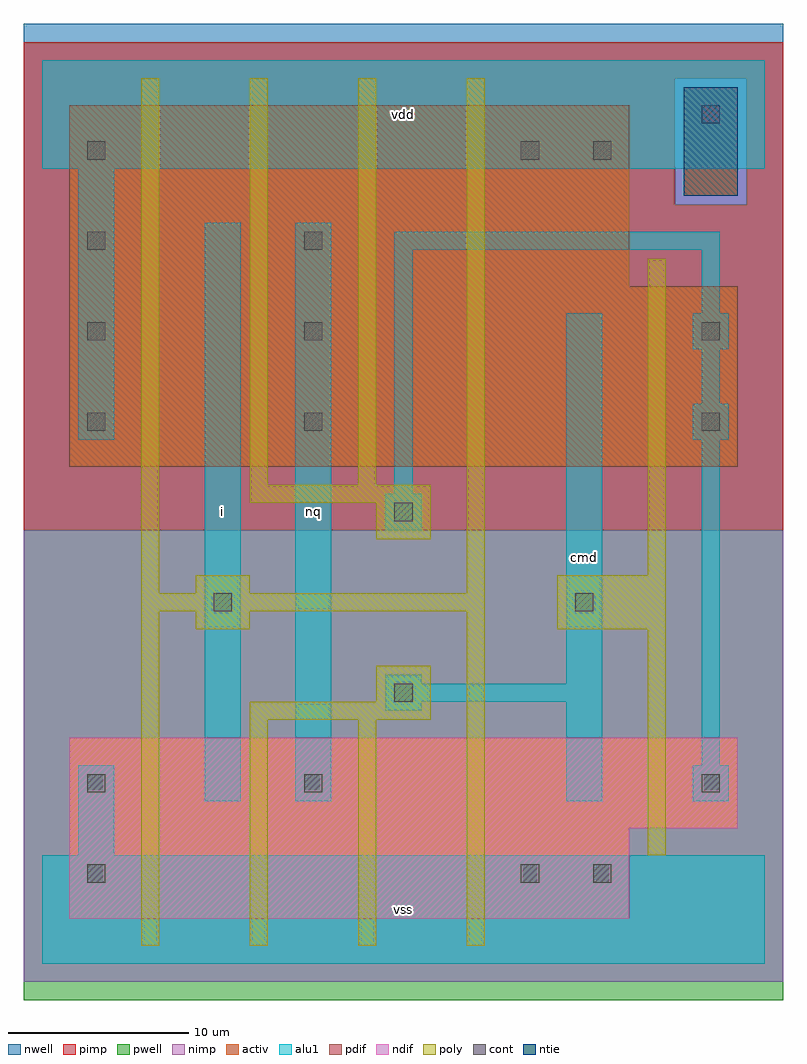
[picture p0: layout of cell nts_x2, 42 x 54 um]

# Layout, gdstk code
import gdstk
lib = gdstk.Library(unit=1e-6, precision=1e-09)
def R(c, l, rs):  # rectangles x0, y0, x1, y1
    for r in rs: c.add(gdstk.rectangle(r[:2], r[2:], *l))
def A(c, l, x, y, w, h, nx, ny, dx, dy):  # array of equal rectangles
    R(c, l, [(x+i*dx, y+j*dy, x+i*dx+w, y+j*dy+h) for i in range(nx) for j in range(ny)])
ndif = (3, 0)
pdif = (4, 0)
ntie = (5, 0)
cont = (25, 0)
pwell = (41, 0)
nwell = (42, 0)
activ = (43, 0)
pimp = (44, 0)
nimp = (45, 0)
poly = (46, 0)
alu1 = (49, 0)

nts_x2 = lib.new_cell('nts_x2')
R(nts_x2, ndif, [(1.5,2.5,32.5,7.5), (1.5,7.5,38.5,12.5)])
R(nts_x2, pdif, [(1.5,27.5,38.5,37.5), (1.5,37.5,32.5,47.5)])
R(nts_x2, ntie, [(35.5,42.5,38.5,48.5)])
A(nts_x2, cont, 2.5, 29.5, 1, 1, 1, 4, 0, 5)
A(nts_x2, cont, 14.5, 29.5, 1, 1, 1, 3, 0, 5)
R(nts_x2, cont, [(2.5,4.5,3.5,5.5), (26.5,4.5,27.5,5.5), (30.5,4.5,31.5,5.5), (2.5,9.5,3.5,10.5), (14.5,9.5,15.5,10.5), (36.5,9.5,37.5,10.5), (19.5,14.5,20.5,15.5), (9.5,19.5,10.5,20.5), (29.5,19.5,30.5,20.5), (19.5,24.5,20.5,25.5), (36.5,29.5,37.5,30.5), (36.5,34.5,37.5,35.5), (26.5,44.5,27.5,45.5), (30.5,44.5,31.5,45.5), (36.5,46.5,37.5,47.5)])
R(nts_x2, pwell, [(-1,-2,41,24)])
R(nts_x2, nwell, [(-1,24,41,52)])
R(nts_x2, activ, [(1.5,2.5,32.5,7.5), (1.5,7.5,38.5,12.5), (1.5,27.5,38.5,37.5), (1.5,37.5,32.5,47.5), (35.5,42.5,38.5,48.5)])
R(nts_x2, pimp, [(-1,24,41,42), (-1,42,35,49), (39,42,41,49), (-1,49,41,51)])
R(nts_x2, nimp, [(-1,-1,41,24), (35,42,39,49)])
R(nts_x2, poly, [(5.5,1,6.5,19.5), (11.5,1,12.5,13.5), (17.5,1,18.5,13.5), (23.5,1,24.5,19.5), (33.5,6,34.5,18.5), (11.5,13.5,21.5,14.5), (18.5,14.5,21.5,16.5), (8.5,18.5,11.5,19.5), (28.5,18.5,34.5,21.5), (5.5,19.5,24.5,20.5), (5.5,20.5,6.5,49), (8.5,20.5,11.5,21.5), (23.5,20.5,24.5,49), (33.5,21.5,34.5,39), (18.5,23.5,21.5,25.5), (11.5,25.5,21.5,26.5), (11.5,26.5,12.5,49), (17.5,26.5,18.5,49)])
R(nts_x2, alu1, [(0,0,40,6), (2,6,4,11), (9,9,11,41), (14,9,16,41), (29,9,31,14.5), (36,9,38,11), (36.5,11,37.5,29), (19,14,21,14.5), (19,14.5,31,15.5), (19,15.5,21,16), (29,15.5,31,36), (19,24,21,26), (19.5,26,20.5,39.5), (2,29,4,44), (36,29,38,31), (36.5,31,37.5,34), (36,34,38,36), (36.5,36,37.5,39.5), (19.5,39.5,37.5,40.5), (0,44,40,50)])
nts_x2.add(gdstk.Label('nq', (15,25), layer=49, texttype=0))
nts_x2.add(gdstk.Label('i', (10,25), layer=49, texttype=0))
nts_x2.add(gdstk.Label('vss', (20,3), layer=49, texttype=0))
nts_x2.add(gdstk.Label('vdd', (20,47), layer=49, texttype=0))
nts_x2.add(gdstk.Label('cmd', (30,22.5), layer=49, texttype=0))

lib.write_gds('nts_x2.gds')
